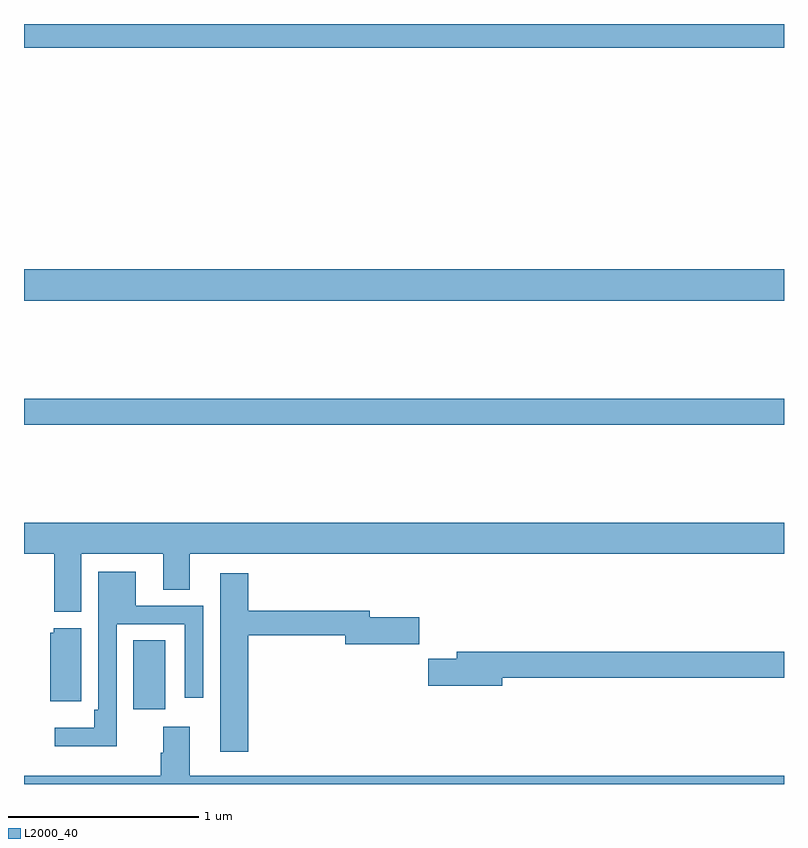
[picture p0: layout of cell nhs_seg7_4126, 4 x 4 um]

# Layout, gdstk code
import gdstk
lib = gdstk.Library(unit=1e-6, precision=1e-09)
def R(c, l, rs):  # rectangles x0, y0, x1, y1
    for r in rs: c.add(gdstk.rectangle(r[:2], r[2:], *l))
def P(c, l, *ps):  # polygons
    for p in ps: c.add(gdstk.Polygon(p, *l))
L2000_40 = (2000, 40)

nhs_seg7_4126 = lib.new_cell('nhs_seg7_4126')
R(nhs_seg7_4126, L2000_40, [(371.576,1070.394,371.743,1070.756), (371,1071.892,375,1072.028), (371,1072.544,375,1072.708), (371,1073.876,375,1074)])
P(nhs_seg7_4126, L2000_40, [(371.302,1071.212),(371.732,1071.212),(371.732,1071.022),(371.872,1071.022),(371.872,1071.212),(375,1071.212),(375,1071.376),(371,1071.376),(371,1071.212),(371.159,1071.212),(371.159,1070.906),(371.302,1070.906)],
  [(371.487,1070.841),(371.847,1070.841),(371.847,1070.454),(371.943,1070.454),(371.943,1070.937),(371.587,1070.937),(371.587,1071.118),(371.391,1071.118),(371.391,1070.392),(371.371,1070.392),(371.371,1070.296),(371.163,1070.296),(371.163,1070.198),(371.487,1070.198)],
  [(372.179,1070.782),(372.692,1070.782),(372.692,1070.735),(373.081,1070.735),(373.081,1070.877),(372.82,1070.877),(372.82,1070.911),(372.179,1070.911),(372.179,1071.109),(372.032,1071.109),(372.032,1070.169),(372.179,1070.169)],
  [(371.302,1070.821),(371.157,1070.821),(371.157,1070.796),(371.138,1070.796),(371.138,1070.435),(371.302,1070.435)],
  [(373.516,1070.56),(375,1070.56),(375,1070.696),(373.277,1070.696),(373.277,1070.66),(373.128,1070.66),(373.128,1070.518),(373.516,1070.518)],
  [(375,1070.044),(371.872,1070.044),(371.872,1070.302),(371.732,1070.302),(371.732,1070.165),(371.72,1070.165),(371.72,1070.044),(371,1070.044),(371,1070),(375,1070)])

lib.write_gds('nhs_seg7_4126.gds')
